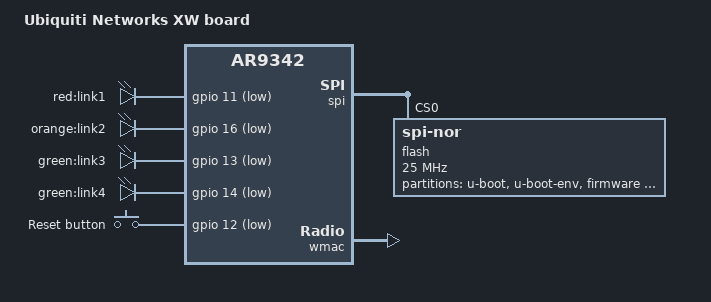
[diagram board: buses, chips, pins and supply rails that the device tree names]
// SPDX-License-Identifier: GPL-2.0-or-later OR MIT

#include "ar9344.dtsi"

#include <dt-bindings/gpio/gpio.h>
#include <dt-bindings/input/input.h>

/ {
	compatible = "ubnt,xw", "qca,ar9342";
	model = "Ubiquiti Networks XW board";

	aliases {
		led-boot = &led_link4;
		led-running = &led_link4;
		led-upgrade = &led_link4;
		led-failsafe = &led_link4;
		label-mac-device = &wmac;
	};

	leds {
		compatible = "gpio-leds";

		link1 {
			label = "red:link1";
			gpios = <&gpio 11 GPIO_ACTIVE_LOW>;
		};

		link2 {
			label = "orange:link2";
			gpios = <&gpio 16 GPIO_ACTIVE_LOW>;
		};

		link3 {
			label = "green:link3";
			gpios = <&gpio 13 GPIO_ACTIVE_LOW>;
		};

		led_link4: link4 {
			label = "green:link4";
			gpios = <&gpio 14 GPIO_ACTIVE_LOW>;
		};
	};

	keys {
		compatible = "gpio-keys";

		reset {
			label = "Reset button";
			linux,code = <KEY_RESTART>;
			gpios = <&gpio 12 GPIO_ACTIVE_LOW>;
			debounce-interval = <60>;
		};
	};
};

&ref {
	clock-frequency = <40000000>;
};

&spi {
	status = "okay";

	flash@0 {
		compatible = "jedec,spi-nor";
		reg = <0>;
		spi-max-frequency = <25000000>;

		partitions {
			compatible = "fixed-partitions";
			#address-cells = <1>;
			#size-cells = <1>;

			partition@0 {
				label = "u-boot";
				reg = <0x000000 0x040000>;
				read-only;
			};

			partition@40000 {
				label = "u-boot-env";
				reg = <0x040000 0x010000>;
				read-only;
			};

			partition@50000 {
				compatible = "denx,uimage";
				label = "firmware";
				reg = <0x050000 0x760000>;
			};

			partition@7b0000 {
				label = "cfg";
				reg = <0x7b0000 0x040000>;
				read-only;
			};

			art: partition@7f0000 {
				label = "art";
				reg = <0x7f0000 0x010000>;
				read-only;
			};
		};
	};
};

&wmac {
	status = "okay";

	mtd-cal-data = <&art 0x1000>;
};

&eth0 {
	mtd-mac-address = <&art 0x0>;
};
